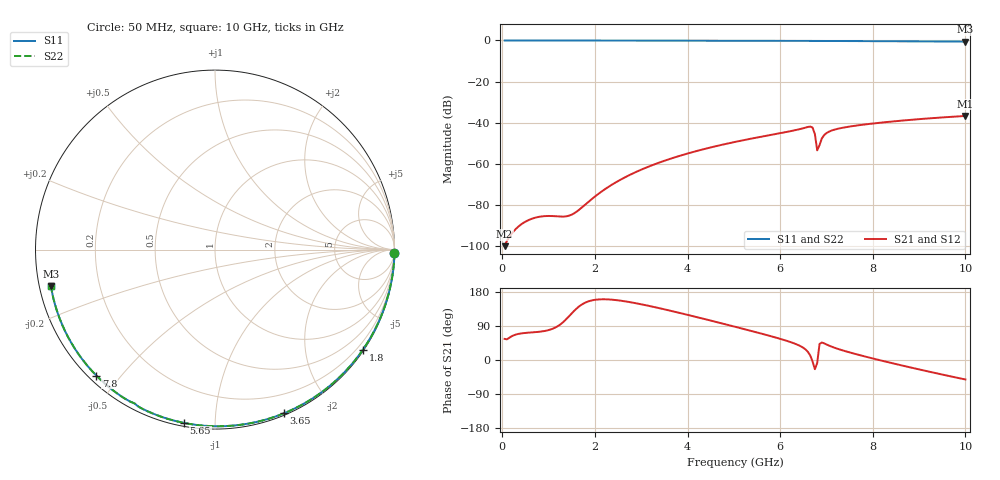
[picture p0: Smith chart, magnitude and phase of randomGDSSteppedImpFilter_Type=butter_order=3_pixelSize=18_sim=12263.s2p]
! freq	dB(S11)	phase(S11)	dB(S12)	phase(S12)
!  dB(S21)	phase(S21)	dB(S22)	phase(S22)
!S-par simulation data
#  GHz  S  DB  R 50
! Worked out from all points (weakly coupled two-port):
!   200 points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, 50 MHz to 10 GHz, reference 50 ohm
!   highest |S21| = -36.74 dB at 10 GHz (marker M1); lowest = -100.1 dB at 50 MHz (marker M2)
!   lowest |S11| = -0.6 dB at 10 GHz (marker M3), VSWR 30.48, Z = 1.66 - j5.51 ohm
!   |S11| at or under -10 dB: nowhere
!   |S22| runs from -0.6 to 0.0 dB; largest |S21 - S12| = 0
!   S11 on the Smith chart (normalised r, x): 50 MHz: open; 1.8 GHz: 0.03, -3.26; 3.65 GHz: 0.02, -1.51; 5.65 GHz: 0.02, -0.84; 7.8 GHz: 0.02, -0.43; 10 GHz: 0.03, -0.11
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0.05  -0.00 -1.0  -100.11 55.6  -100.11 55.6  -0.00 -1.0
0.85  -0.02 -16.3  -85.62 75.3  -85.62 75.3  -0.02 -16.3
1.75  -0.04 -33.2  -80.68 148.8  -80.68 148.8  -0.04 -33.2
1.8  -0.04 -34.1  -79.71 151.8  -79.71 151.8  -0.04 -34.1
2.15  -0.05 -40.5  -73.43 160.2  -73.43 160.2  -0.05 -40.5
2.5  -0.06 -46.9  -68.42 157.5  -68.42 157.5  -0.06 -46.9
2.9  -0.07 -54.1  -63.87 149.5  -63.87 149.5  -0.07 -54.0
3.4  -0.08 -62.8  -59.34 136.5  -59.34 136.5  -0.08 -62.8
3.65  -0.09 -67.2  -57.42 129.5  -57.42 129.5  -0.09 -67.2
5.05  -0.14 -90.5  -49.26 87.0  -49.26 87.0  -0.14 -90.5
5.65  -0.17 -100.2  -46.59 67.8  -46.59 67.8  -0.17 -100.1
6.6  -0.23 -115.1  -42.09 21.3  -42.09 21.3  -0.23 -115.1
6.7  -0.26 -116.8  -42.38 -3.8  -42.38 -3.8  -0.26 -116.7
6.75  -0.29 -117.4  -45.58 -24.2  -45.58 -24.2  -0.29 -117.4
6.8  -0.29 -118.0  -53.48 -7.8  -53.48 -7.8  -0.29 -118.0
6.9  -0.27 -119.4  -47.68 46.2  -47.68 46.2  -0.27 -119.4
6.95  -0.26 -120.2  -46.05 43.9  -46.05 43.9  -0.26 -120.2
7.05  -0.26 -121.8  -44.43 38.2  -44.43 38.2  -0.26 -121.8
7.3  -0.28 -125.6  -42.70 27.2  -42.70 27.2  -0.28 -125.6
7.8  -0.32 -133.3  -40.96 10.2  -40.96 10.2  -0.32 -133.2
8.35  -0.37 -141.6  -39.59 -6.4  -39.59 -6.4  -0.37 -141.6
10  -0.57 -167.4  -36.74 -51.4  -36.74 -51.4  -0.57 -167.4
